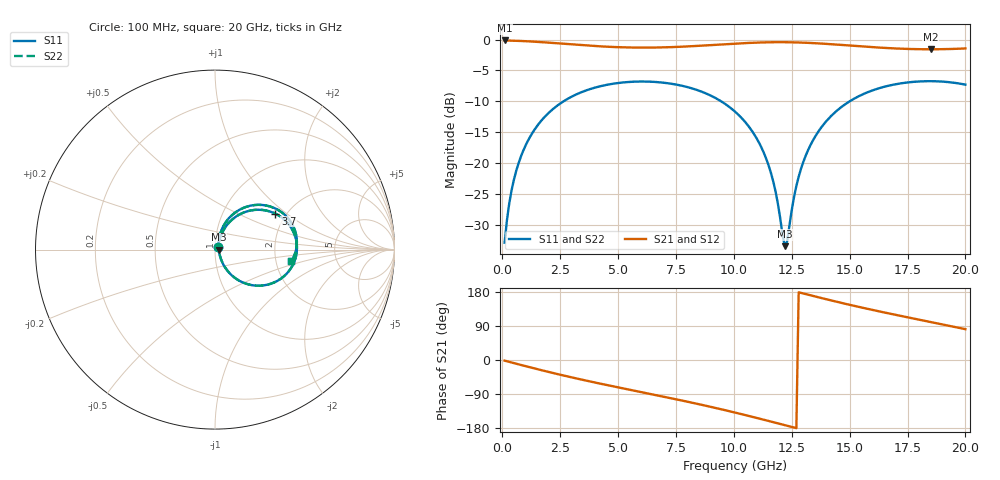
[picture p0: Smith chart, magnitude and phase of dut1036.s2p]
! Touchstone file exported from HFSS 2026.1.0
!  File:  C:/ffzhzh/LocalFiles/Ansys_Project_Files/temp_train_TSV_RDL_1036_1783294707_5512.aedt
!  Generated:  07:50:25 AM Jul  6, 2026
!  Design:  TSV_RDL
!  Project:  temp_train_TSV_RDL_1036_1783294707_5512
! Variables:
!  h_bsmrdl = 5.9um
!  h_ox = 20um
!  h_rdl = 5um
!  h_sub = 66.22um
!  h_tmrdl = 5.34um
!  h_tsv = 66.22um
!  h_via = 3um
!  l_bsmrdl = 340.08um
!  l_sub = 4666.14um
!  l_tmrdl = 787.58um
!  m_sub = 200um
!  pitch = 43.02um
!  r_tsv = 14.98um
!  s_tmrdl = 10um
!  w_bsmrdl = 13.51um
!  w_sub = 500um
!  w_tmrdl = 18.35um
!  x_tsv_center1 = 796.755um
!  x_tsv_center2 = 1150.345um
!  x_tsv_center3 = 1956.275um
!  x_tsv_center4 = 2309.865um
!  x_tsv_center5 = 3115.795um
!  x_tsv_center6 = 3469.385um
# GHz S MA R 50.000000
! Terminal data exported
! Port[1] = TM_RDL1_1_T1
! Port[2] = TM_RDL5_1_T1
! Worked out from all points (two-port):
!   200 points, 100 MHz to 20 GHz, reference 50 ohm
!   highest |S21| = -0.15 dB at 100 MHz (marker M1); lowest = -1.6 dB at 18.5 GHz (marker M2)
!   |S21| within 3 dB of the highest: start of sweep to end of sweep
!   lowest |S11| = -33.5 dB at 12.2 GHz (marker M3), VSWR 1.04, Z = 52.2 - j0.105 ohm
!   |S11| at or under -10 dB: start of sweep to 2.652 GHz; 9.444 GHz to 15.01 GHz (5.564 GHz wide, 45.5 % of centre)
!   |S22| runs from -33.4 to -6.8 dB; largest |S21 - S12| = 1.7e-14
!   S11 on the Smith chart (normalised r, x): 100 MHz: 1.03, +0.03; 3.7 GHz: 1.76, +0.83; 20 GHz: 2.44, -0.39
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0.1  0.02256 39.9  0.983 -1.7  0.983 -1.7  0.02256 39.9
! Gamma 0 0 0 0
! Port Impedance 50 0 50 0
0.3  0.04689 62.0  0.9807 -5.0  0.9807 -5.0  0.04689 62.0
0.5  0.07286 66.5  0.9783 -8.2  0.9783 -8.2  0.07286 66.5
1.1  0.1502 64.2  0.9678 -17.7  0.9678 -17.7  0.1502 64.2
2.1  0.2643 51.8  0.9406 -33.0  0.9406 -33.0  0.2643 51.9
3.5  0.3794 33.4  0.8982 -52.8  0.8982 -52.8  0.3794 33.4
3.7  0.3914 30.8  0.8928 -55.4  0.8928 -55.4  0.3914 30.8
5.3  0.4504 11.1  0.8639 -76.0  0.8639 -76.0  0.4504 11.2
6.8  0.4501 -6.7  0.8628 -94.7  0.8628 -94.7  0.45 -6.7
8.6  0.3785 -28.8  0.8918 -118.1  0.8918 -118.1  0.3784 -28.7
10.1  0.2554 -47.9  0.9275 -139.4  0.9275 -139.4  0.2553 -47.8
10.8  0.1795 -56.2  0.9414 -150.0  0.9414 -150.0  0.1795 -56.1
11.4  0.1078 -60.7  0.9491 -159.3  0.9491 -159.3  0.1078 -60.5
11.8  0.05877 -57.2  0.9514 -165.6  0.9514 -165.6  0.05883 -56.8
12.2  0.02112 -2.7  0.9513 -171.9  0.9513 -171.9  0.0215 -2.4
12.3  0.02308 29.5  0.9509 -173.5  0.9509 -173.5  0.02348 29.3
12.8  0.07716 71.0  0.9464 178.6  0.9464 178.6  0.07734 70.7
13.4  0.1502 69.6  0.9363 169.3  0.9363 169.3  0.1503 69.5
14.7  0.2889 54.7  0.903 149.9  0.903 149.9  0.289 54.7
16.7  0.4231 30.0  0.8515 122.8  0.8515 122.8  0.4232 30.0
18.5  0.4596 8.9  0.8337 100.3  0.8337 100.3  0.4596 8.8
20  0.4309 -8.6  0.8466 81.4  0.8466 81.4  0.4308 -8.7
